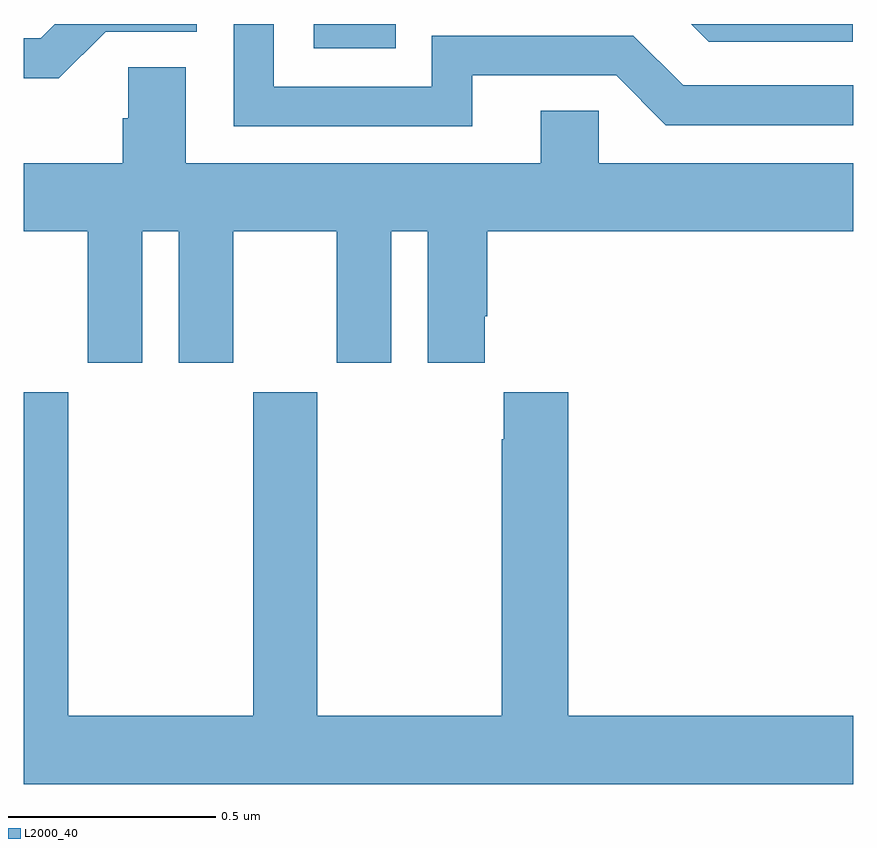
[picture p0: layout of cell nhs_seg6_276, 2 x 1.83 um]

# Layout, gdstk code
import gdstk
lib = gdstk.Library(unit=1e-6, precision=1e-09)
def R(c, l, rs):  # rectangles x0, y0, x1, y1
    for r in rs: c.add(gdstk.rectangle(r[:2], r[2:], *l))
def P(c, l, *ps):  # polygons
    for p in ps: c.add(gdstk.Polygon(p, *l))
L2000_40 = (2000, 40)

nhs_seg6_276 = lib.new_cell('nhs_seg6_276')
R(nhs_seg6_276, L2000_40, [(114.699,950.441,114.897,950.5)])
P(nhs_seg6_276, L2000_40, [(115.081,950.376),(115.428,950.376),(115.548,950.256),(116,950.256),(116,950.352),(115.59,950.352),(115.47,950.472),(114.984,950.472),(114.984,950.349),(114.603,950.349),(114.603,950.5),(114.507,950.5),(114.507,950.253),(115.081,950.253)],
  [(114.198,950.481),(114.417,950.481),(114.417,950.5),(114.075,950.5),(114.041,950.466),(114,950.466),(114,950.369),(114.085,950.369)],
  [(115.998,950.5),(115.609,950.5),(115.652,950.457),(115.998,950.457)],
  [(114.286,950),(114.374,950),(114.374,949.683),(114.505,949.683),(114.505,950),(114.755,950),(114.755,949.683),(114.886,949.683),(114.886,950),(114.974,950),(114.974,949.683),(115.111,949.683),(115.111,949.795),(115.118,949.795),(115.118,950),(116,950),(116,950.164),(115.386,950.164),(115.386,950.291),(115.247,950.291),(115.247,950.164),(114.391,950.164),(114.391,950.396),(114.252,950.396),(114.252,950.273),(114.239,950.273),(114.239,950.164),(114,950.164),(114,950),(114.155,950),(114.155,949.683),(114.286,949.683)],
  [(116,948.832),(115.313,948.832),(115.313,949.612),(115.157,949.612),(115.157,949.499),(115.153,949.499),(115.153,948.832),(114.708,948.832),(114.708,949.612),(114.553,949.612),(114.553,948.832),(114.108,948.832),(114.108,949.612),(114,949.612),(114,948.668),(116,948.668)])

lib.write_gds('nhs_seg6_276.gds')
